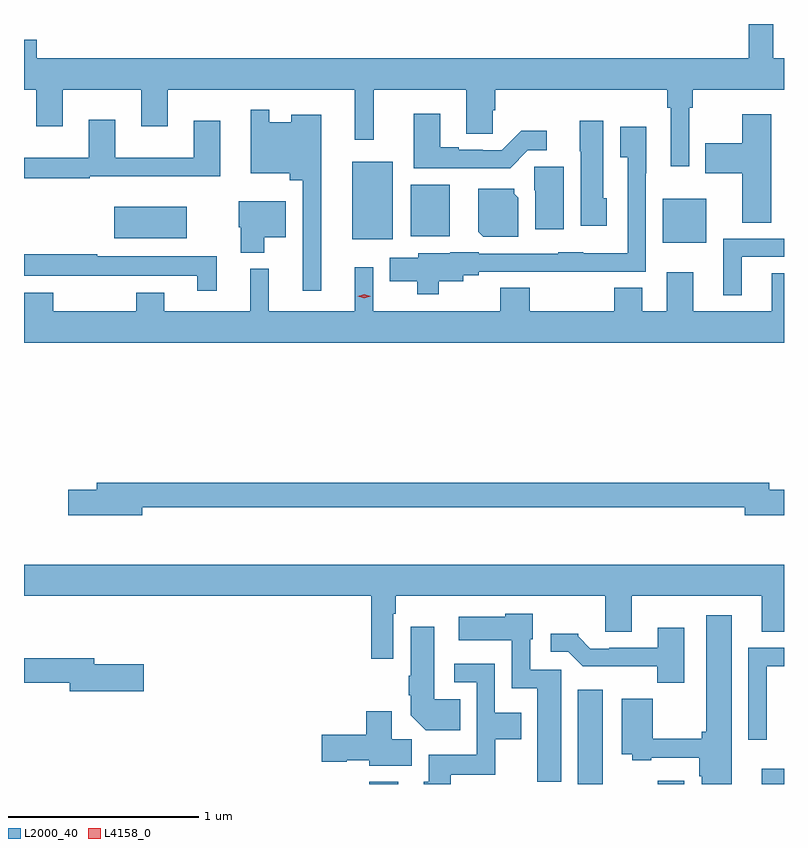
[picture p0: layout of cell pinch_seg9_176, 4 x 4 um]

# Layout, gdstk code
import gdstk
lib = gdstk.Library(unit=1e-6, precision=1e-09)
def R(c, l, rs):  # rectangles x0, y0, x1, y1
    for r in rs: c.add(gdstk.rectangle(r[:2], r[2:], *l))
def P(c, l, *ps):  # polygons
    for p in ps: c.add(gdstk.Polygon(p, *l))
L2000_40 = (2000, 40)
L4158_0 = (4158, 0)

pinch_seg9_176 = lib.new_cell('pinch_seg9_176')
R(pinch_seg9_176, L2000_40, [(794.069,1211.413,794.221,1211.425), (795.167,1211.413,795.298,1211.908), (795.587,1211.413,795.727,1211.431), (796.136,1211.413,796.252,1211.494), (795.614,1214.261,795.844,1214.494), (793.979,1214.279,794.194,1214.689), (792.726,1214.285,793.108,1214.452), (794.288,1214.297,794.494,1214.566)])
P(pinch_seg9_176, L2000_40, [(795.753,1214.972),(795.773,1214.972),(795.773,1215.068),(796.252,1215.068),(796.252,1215.232),(796.195,1215.232),(796.195,1215.413),(796.067,1215.413),(796.067,1215.232),(792.32,1215.232),(792.32,1215.331),(792.252,1215.331),(792.252,1215.068),(792.317,1215.068),(792.317,1214.874),(792.457,1214.874),(792.457,1215.068),(792.869,1215.068),(792.869,1214.874),(793.009,1214.874),(793.009,1215.068),(793.994,1215.068),(793.994,1214.805),(794.093,1214.805),(794.093,1215.068),(794.579,1215.068),(794.579,1214.836),(794.718,1214.836),(794.718,1214.958),(794.732,1214.958),(794.732,1215.068),(795.637,1215.068),(795.637,1214.972),(795.656,1214.972),(795.656,1214.664),(795.753,1214.664)],
  [(793.816,1214.935),(793.658,1214.935),(793.658,1214.896),(793.542,1214.896),(793.542,1214.962),(793.446,1214.962),(793.446,1214.627),(793.651,1214.627),(793.651,1214.591),(793.719,1214.591),(793.719,1214.01),(793.816,1214.01)],
  [(794.904,1214.748),(795.004,1214.748),(795.004,1214.851),(794.869,1214.851),(794.766,1214.748),(794.666,1214.748),(794.666,1214.751),(794.539,1214.751),(794.539,1214.764),(794.443,1214.764),(794.443,1214.941),(794.303,1214.941),(794.303,1214.654),(794.81,1214.654)],
  [(796.186,1214.938),(796.031,1214.938),(796.031,1214.785),(795.838,1214.785),(795.838,1214.627),(796.031,1214.627),(796.031,1214.368),(796.186,1214.368)],
  [(792.597,1214.612),(793.285,1214.612),(793.285,1214.905),(793.145,1214.905),(793.145,1214.71),(792.733,1214.71),(792.733,1214.908),(792.593,1214.908),(792.593,1214.71),(792.252,1214.71),(792.252,1214.601),(792.597,1214.601)],
  [(795.319,1214.496),(795.301,1214.496),(795.301,1214.905),(795.176,1214.905),(795.176,1214.742),(795.182,1214.742),(795.182,1214.352),(795.319,1214.352)],
  [(794.434,1214.06),(794.563,1214.06),(794.563,1214.09),(794.646,1214.09),(794.646,1214.109),(795.063,1214.109),(795.063,1214.108),(795.295,1214.108),(795.295,1214.109),(795.525,1214.109),(795.525,1214.627),(795.526,1214.627),(795.526,1214.872),(795.389,1214.872),(795.389,1214.711),(795.429,1214.711),(795.429,1214.206),(795.195,1214.206),(795.195,1214.212),(795.063,1214.212),(795.063,1214.205),(794.646,1214.205),(794.646,1214.212),(794.496,1214.212),(794.496,1214.206),(794.328,1214.206),(794.328,1214.182),(794.176,1214.182),(794.176,1214.06),(794.323,1214.06),(794.323,1213.991),(794.434,1213.991)],
  [(795.094,1214.661),(794.938,1214.661),(794.938,1214.538),(794.942,1214.538),(794.942,1214.334),(795.094,1214.334)],
  [(794.854,1214.498),(794.832,1214.52),(794.832,1214.545),(794.642,1214.545),(794.642,1214.32),(794.668,1214.294),(794.854,1214.294)],
  [(793.516,1214.291),(793.63,1214.291),(793.63,1214.479),(793.382,1214.479),(793.382,1214.343),(793.394,1214.343),(793.394,1214.21),(793.516,1214.21)],
  [(796.03,1214.187),(796.252,1214.187),(796.252,1214.283),(795.932,1214.283),(795.932,1213.986),(796.03,1213.986)],
  [(793.267,1214.191),(792.638,1214.191),(792.638,1214.201),(792.252,1214.201),(792.252,1214.087),(793.163,1214.087),(793.163,1214.01),(793.267,1214.01)],
  [(796.252,1214.102),(796.187,1214.102),(796.187,1213.9),(795.775,1213.9),(795.775,1214.107),(795.635,1214.107),(795.635,1213.9),(795.505,1213.9),(795.505,1214.024),(795.358,1214.024),(795.358,1213.9),(794.913,1213.9),(794.913,1214.024),(794.758,1214.024),(794.758,1213.9),(794.091,1213.9),(794.091,1214.134),(793.994,1214.134),(793.994,1213.9),(793.541,1213.9),(793.541,1214.125),(793.442,1214.125),(793.442,1213.9),(792.991,1213.9),(792.991,1213.999),(792.844,1213.999),(792.844,1213.9),(792.405,1213.9),(792.405,1213.999),(792.252,1213.999),(792.252,1213.736),(796.252,1213.736)],
  [(792.874,1212.87),(796.046,1212.87),(796.046,1212.827),(796.252,1212.827),(796.252,1212.962),(796.174,1212.962),(796.174,1212.998),(792.635,1212.998),(792.635,1212.962),(792.486,1212.962),(792.486,1212.827),(792.874,1212.827)],
  [(794.196,1212.308),(794.209,1212.308),(794.209,1212.404),(795.311,1212.404),(795.311,1212.214),(795.451,1212.214),(795.451,1212.404),(796.136,1212.404),(796.136,1212.214),(796.252,1212.214),(796.252,1212.568),(792.252,1212.568),(792.252,1212.404),(794.08,1212.404),(794.08,1212.072),(794.196,1212.072)],
  [(795.079,1212.015),(794.916,1212.015),(794.916,1212.174),(794.929,1212.174),(794.929,1212.31),(794.784,1212.31),(794.784,1212.292),(794.541,1212.292),(794.541,1212.17),(794.82,1212.17),(794.82,1211.918),(794.954,1211.918),(794.954,1211.424),(795.079,1211.424)],
  [(795.976,1212.301),(795.842,1212.301),(795.842,1211.688),(795.818,1211.688),(795.818,1211.651),(795.56,1211.651),(795.56,1211.863),(795.398,1211.863),(795.398,1211.57),(795.453,1211.57),(795.453,1211.538),(795.553,1211.538),(795.553,1211.55),(795.806,1211.55),(795.806,1211.453),(795.818,1211.453),(795.818,1211.413),(795.976,1211.413)],
  [(794.549,1211.86),(794.41,1211.86),(794.41,1212.241),(794.288,1212.241),(794.288,1211.984),(794.276,1211.984),(794.276,1211.881),(794.288,1211.881),(794.288,1211.774),(794.366,1211.696),(794.549,1211.696)],
  [(795.727,1212.235),(795.587,1212.235),(795.587,1212.129),(795.331,1212.129),(795.331,1212.126),(795.232,1212.126),(795.168,1212.19),(795.168,1212.205),(795.024,1212.205),(795.024,1212.108),(795.117,1212.108),(795.193,1212.032),(795.585,1212.032),(795.585,1211.945),(795.727,1211.945)],
  [(796.161,1212.033),(796.252,1212.033),(796.252,1212.129),(796.065,1212.129),(796.065,1211.646),(796.161,1211.646)],
  [(792.883,1212.042),(792.622,1212.042),(792.622,1212.076),(792.252,1212.076),(792.252,1211.947),(792.494,1211.947),(792.494,1211.9),(792.883,1211.9)],
  [(794.497,1211.462),(794.733,1211.462),(794.733,1211.648),(794.869,1211.648),(794.869,1211.788),(794.73,1211.788),(794.73,1212.045),(794.517,1212.045),(794.517,1211.949),(794.634,1211.949),(794.634,1211.566),(794.381,1211.566),(794.381,1211.424),(794.357,1211.424),(794.357,1211.413),(794.497,1211.413)],
  [(794.293,1211.648),(794.188,1211.648),(794.188,1211.797),(794.054,1211.797),(794.054,1211.672),(793.818,1211.672),(793.818,1211.53),(793.95,1211.53),(793.95,1211.537),(794.07,1211.537),(794.07,1211.51),(794.293,1211.51)])
P(pinch_seg9_176, L4158_0, [(794.043,1213.97),(794.009,1213.981),(794.009,1213.981),(794.009,1213.981),(794.043,1213.99),(794.078,1213.98),(794.078,1213.98),(794.078,1213.98)])

lib.write_gds('pinch_seg9_176.gds')
